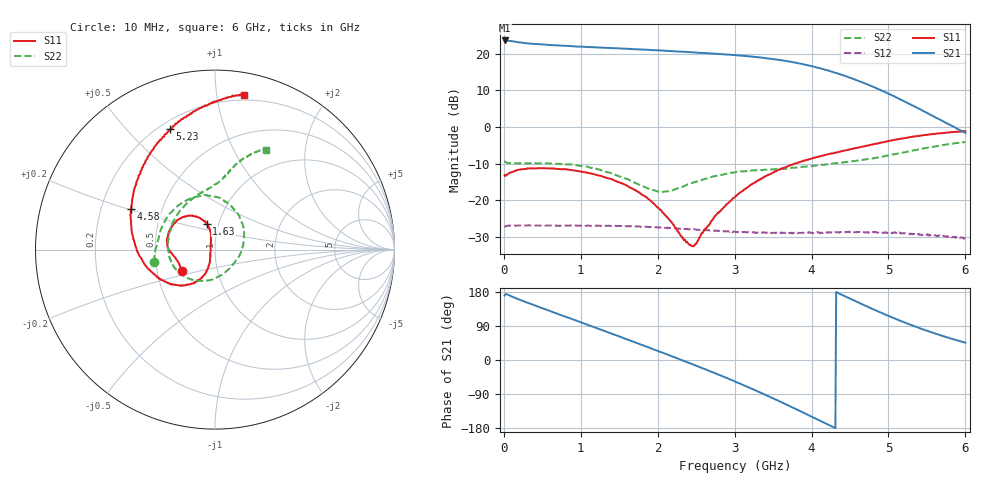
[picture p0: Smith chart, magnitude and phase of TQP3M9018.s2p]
! TriQuint Semiconductor
! TQP3M9018 High Linearity LNA Gain Block
! 16 pins 3x3 mm QFN Package
! The data is for the unmatched device in a 50 Ohm system, 2-port file de-embedded to the device leads.
! Device bias: +5V @ 85 mA Icq
! Temperature: 25C
! Date: 04/08/2010
! Lot Code: N/A
!  Port 1 corresponds to Pin 2 on the TQP3M9018 (RF input)
!  Port 2 corresponds to Pin 11 on the TQP3M9018 (RF output)
! All data in ma (Magnitude/Angle) format
! freq-unit  param-type  data-format  keyword  impedance-ohms
# ghz S ma R 50
! 2 Port Network Data from SP1.SP block
! freq  magS11  angS11  magS21  angS21  magS12  angS12  magS22  angS22
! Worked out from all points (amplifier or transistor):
!   600 points, 10 MHz to 6 GHz, reference 50 ohm
!   highest |S21| = 23.6 dB at 10 MHz (marker M1)
!   |S21| within 3 dB of that: start of sweep to 2.23 GHz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
!   unconditionally stable (mu >= 1): start of sweep to end of sweep
!   at 1.01 GHz: K = 1.11, MAG = 22.4 dB, |S12| = -26.8 dB
!   at 3.01 GHz: K = 1.46, MAG = 20.1 dB, |S12| = -28.5 dB
!   at 6 GHz: K = 2.76, MAG = 7.0 dB, |S12| = -30.2 dB
!   S11 on the Smith chart (normalised r, x): 10 MHz: 0.67, -0.17; 1.63 GHz: 0.87, +0.26; 4.58 GHz: 0.33, +0.20; 5.23 GHz: 0.24, +0.67; 6 GHz: 0.16, +1.19
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0.01  0.2211 -146.6  15.22 170.2  0.0431 6.0  0.3467 -168.3
0.05  0.2272 -169.3  15.19 172.4  0.0451 0.2  0.3239 175.9
0.26  0.2677 173.4  14.07 154.9  0.04559 -8.6  0.3215 155.2
0.52  0.2746 156.6  13.44 135.1  0.04546 -18.8  0.3201 130.9
0.74  0.2661 144.7  12.96 118.5  0.0452 -27.1  0.3149 111.9
1.01  0.2455 131.2  12.5 98.9  0.04545 -38.0  0.2957 90.2
1.31  0.2076 118.7  12.1 76.6  0.0454 -50.0  0.2502 65.1
1.63  0.1522 108.1  11.69 52.6  0.04486 -65.1  0.1904 31.7
2.01  0.07857 105.8  11.14 23.2  0.04245 -83.8  0.1306 -29.5
2.27  0.03708 129.5  10.76 3.0  0.04119 -96.9  0.1466 -77.0
2.49  0.02544 -158.4  10.44 -14.1  0.03999 -109.2  0.1784 -104.9
2.76  0.0637 -115.3  9.966 -36.1  0.03885 -124.9  0.2164 -130.9
3.01  0.1128 -110.8  9.588 -57.2  0.03739 -140.2  0.2427 -152.1
3.23  0.1682 -115.1  9.184 -76.6  0.03674 -154.7  0.2576 -169.1
3.47  0.2318 -125.0  8.586 -98.5  0.03605 -171.5  0.2649 171.7
3.75  0.3091 -140.9  7.711 -124.9  0.03541 166.5  0.2794 147.6
4.01  0.3748 -160.8  6.748 -150.5  0.03629 144.9  0.2944 127.2
4.27  0.4383 179.2  5.681 -175.8  0.0364 122.1  0.3175 109.1
4.58  0.5186 154.2  4.375 154.3  0.03701 96.6  0.3481 93.9
5.01  0.648 123.7  2.824 115.7  0.03661 62.1  0.4121 82.3
5.23  0.7159 110.5  2.183 97.4  0.03523 46.5  0.4575 78.5
6  0.8783 79.5  0.8324 45.8  0.03086 3.5  0.6241 63.1
